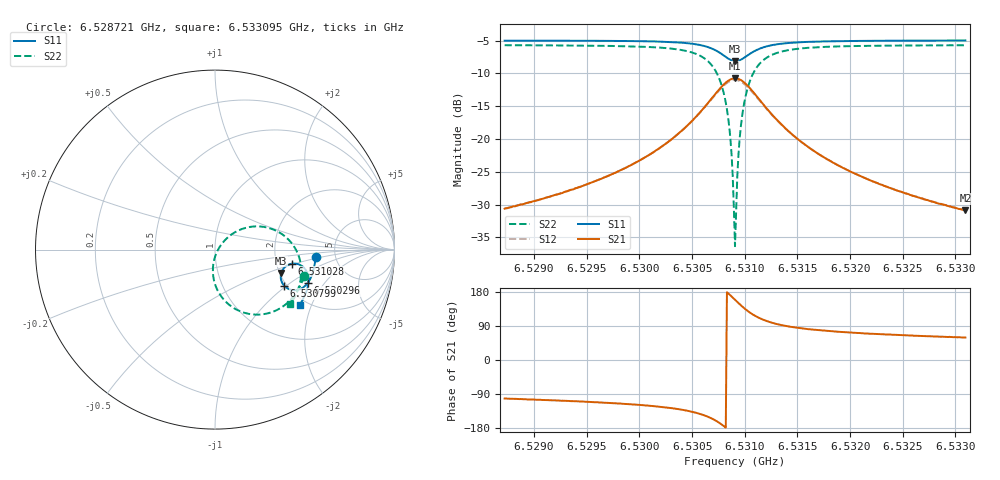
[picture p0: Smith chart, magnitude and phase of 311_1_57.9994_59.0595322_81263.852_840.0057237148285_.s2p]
#  HZ  S  RI  R  50.00
! Rohde & Schwarz Vector Network Analyzer
! Rohde-Schwarz,ZNB20-2Port,1311601062101988,3.16
! Created: UTC 3/21/2024, 1:04:11 AM
! freq[Hz]  re:S11  im:S11  re:S21  im:S21  re:S12  im:S12  re:S22  im:S22
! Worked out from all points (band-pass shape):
!   401 points, 6.528721 GHz to 6.533095 GHz, reference 50 ohm
!   highest |S21| = -10.75 dB at 6.530908 GHz (marker M1); lowest = -30.9 dB at 6.533095 GHz (marker M2)
!   |S21| within 3 dB of the highest: 6.53069 GHz to 6.531127 GHz (437.3 kHz wide, 0.0067 % of centre)
!   lowest |S11| = -8.1 dB at 6.530908 GHz (marker M3), VSWR 2.29, Z = 102 - j31.5 ohm
!   |S11| at or under -10 dB: nowhere
!   |S22| runs from -36.3 to -5.7 dB; largest |S21 - S12| = 0.011
!   S11 on the Smith chart (normalised r, x): 6.528721 GHz: 3.50, -0.44; 6.530296 GHz: 2.59, -1.39; 6.530799 GHz: 1.94, -0.96; 6.531028 GHz: 2.43, -0.47; 6.533095 GHz: 1.84, -1.65
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6.5287211e9  0.5601 -0.0431  -0.00597 -0.0288  -0.00655 -0.0288  0.4969 -0.1484
6.5294537e9  0.5511 -0.1035  -0.0146 -0.0412  -0.0156 -0.0408  0.4682 -0.215
6.5301863e9  0.5245 -0.1744  -0.0463 -0.0709  -0.0482 -0.0697  0.3914 -0.3075
6.5302957e9  0.5158 -0.1872  -0.0584 -0.0786  -0.0607 -0.0769  0.3655 -0.3254
6.5306347e9  0.4538 -0.2257  -0.1538 -0.0962  -0.156 -0.0903  0.185 -0.3574
6.5307331e9  0.4146 -0.2212  -0.2145 -0.0727  -0.214 -0.0641  0.0815 -0.3094
6.5307987e9  0.3855 -0.2013  -0.2578 -0.0282  -0.2536 -0.0189  0.0146 -0.2276
6.5308533e9  0.3686 -0.1699  -0.2793 0.0321  -0.2716 0.0399  -0.0119 -0.1236
6.5308752e9  0.3663 -0.1546  -0.2802 0.0606  -0.2713 0.0669  -0.00886 -0.0764
6.5308862e9  0.3664 -0.1467  -0.2786 0.0752  -0.2693 0.0806  -0.00377 -0.0527
6.5308971e9  0.3674 -0.1387  -0.2757 0.0896  -0.2659 0.0941  0.00372 -0.0297
6.530908e9  0.3691 -0.1308  -0.271 0.1037  -0.2612 0.1073  0.0135 -0.00719
6.5309299e9  0.3753 -0.116  -0.2579 0.1302  -0.248 0.132  0.0393 0.0342
6.5309408e9  0.3795 -0.109  -0.2496 0.1422  -0.2398 0.1432  0.055 0.0523
6.5309627e9  0.3897 -0.0974  -0.2299 0.1631  -0.221 0.1625  0.0906 0.0834
6.5309955e9  0.408 -0.0848  -0.1963 0.1853  -0.1888 0.1832  0.1495 0.1146
6.5310283e9  0.4272 -0.0785  -0.1616 0.197  -0.1558 0.1941  0.2086 0.1283
6.5311048e9  0.4659 -0.0818  -0.0936 0.195  -0.0903 0.1924  0.3233 0.1125
6.5312142e9  0.4989 -0.1044  -0.0361 0.1652  -0.0345 0.1636  0.4165 0.0484
6.5316407e9  0.5209 -0.1804  0.014 0.0816  0.015 0.0815  0.4812 -0.1286
6.5323733e9  0.5013 -0.2527  0.0164 0.0392  0.0173 0.0389  0.4537 -0.2437
6.533095e9  0.4736 -0.3059  0.0146 0.0245  0.0151 0.0244  0.4187 -0.3055
